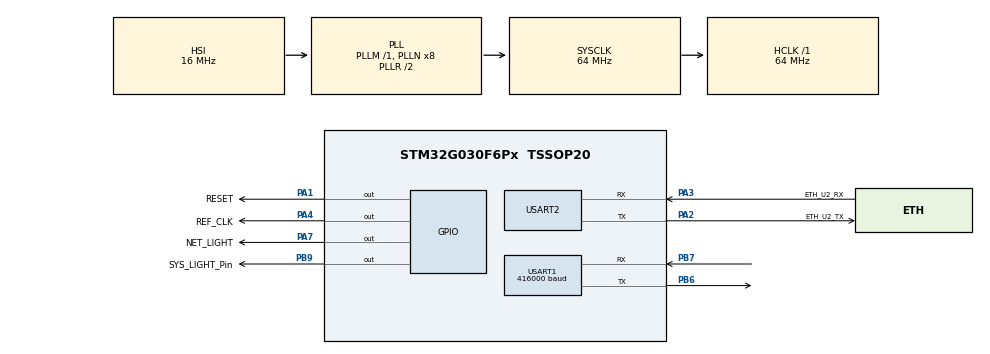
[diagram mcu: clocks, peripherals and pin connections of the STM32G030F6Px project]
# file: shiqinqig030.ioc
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Dma.Request0=USART2_TX
Dma.Request1=USART1_RX
Dma.Request2=USART2_RX
Dma.USART1_RX.1.Direction=DMA_PERIPH_TO_MEMORY
Dma.USART1_RX.1.EventEnable=DISABLE
Dma.USART1_RX.1.Instance=DMA1_Channel1
Dma.USART1_RX.1.MemDataAlignment=DMA_MDATAALIGN_BYTE
Dma.USART1_RX.1.MemInc=DMA_MINC_ENABLE
Dma.USART1_RX.1.Mode=DMA_CIRCULAR
Dma.USART1_RX.1.PeriphDataAlignment=DMA_PDATAALIGN_BYTE
Dma.USART1_RX.1.PeriphInc=DMA_PINC_DISABLE
Dma.USART1_RX.1.Polarity=HAL_DMAMUX_REQ_GEN_RISING
Dma.USART1_RX.1.Priority=DMA_PRIORITY_LOW
Dma.USART1_RX.1.RequestNumber=1
Dma.USART1_RX.1.SignalID=NONE
Dma.USART1_RX.1.SyncEnable=DISABLE
Dma.USART1_RX.1.SyncPolarity=HAL_DMAMUX_SYNC_NO_EVENT
Dma.USART1_RX.1.SyncRequestNumber=1
Dma.USART1_RX.1.SyncSignalID=NONE
Dma.USART2_RX.2.Direction=DMA_PERIPH_TO_MEMORY
Dma.USART2_RX.2.EventEnable=DISABLE
Dma.USART2_RX.2.Instance=DMA1_Channel3
Dma.USART2_RX.2.MemDataAlignment=DMA_MDATAALIGN_BYTE
Dma.USART2_RX.2.MemInc=DMA_MINC_ENABLE
Dma.USART2_RX.2.Mode=DMA_NORMAL
Dma.USART2_RX.2.PeriphDataAlignment=DMA_PDATAALIGN_BYTE
Dma.USART2_RX.2.PeriphInc=DMA_PINC_DISABLE
Dma.USART2_RX.2.Polarity=HAL_DMAMUX_REQ_GEN_RISING
Dma.USART2_RX.2.Priority=DMA_PRIORITY_LOW
Dma.USART2_RX.2.RequestNumber=1
Dma.USART2_RX.2.SignalID=NONE
Dma.USART2_RX.2.SyncEnable=DISABLE
Dma.USART2_RX.2.SyncPolarity=HAL_DMAMUX_SYNC_NO_EVENT
Dma.USART2_RX.2.SyncRequestNumber=1
Dma.USART2_RX.2.SyncSignalID=NONE
Dma.USART2_TX.0.Direction=DMA_MEMORY_TO_PERIPH
Dma.USART2_TX.0.EventEnable=DISABLE
Dma.USART2_TX.0.Instance=DMA1_Channel2
Dma.USART2_TX.0.MemDataAlignment=DMA_MDATAALIGN_BYTE
Dma.USART2_TX.0.MemInc=DMA_MINC_ENABLE
Dma.USART2_TX.0.Mode=DMA_NORMAL
Dma.USART2_TX.0.PeriphDataAlignment=DMA_PDATAALIGN_BYTE
Dma.USART2_TX.0.PeriphInc=DMA_PINC_DISABLE
Dma.USART2_TX.0.Polarity=HAL_DMAMUX_REQ_GEN_RISING
Dma.USART2_TX.0.Priority=DMA_PRIORITY_LOW
Dma.USART2_TX.0.RequestNumber=1
Dma.USART2_TX.0.SignalID=NONE
Dma.USART2_TX.0.SyncEnable=DISABLE
Dma.USART2_TX.0.SyncPolarity=HAL_DMAMUX_SYNC_NO_EVENT
Dma.USART2_TX.0.SyncRequestNumber=1
Dma.USART2_TX.0.SyncSignalID=NONE
Mcu.Family=STM32G0
Mcu.Name=STM32G030F6Px
Mcu.Package=TSSOP20
NVIC.DMA1_Channel1_IRQn=true\:0\:0\:false\:true\:true\:4\:false\:true
NVIC.DMA1_Channel2_3_IRQn=true\:0\:0\:false\:true\:true\:3\:false\:true
NVIC.USART1_IRQn=true\:1\:0\:true\:true\:true\:1\:true\:true
NVIC.USART2_IRQn=true\:0\:0\:true\:true\:true\:2\:true\:true
PA1.GPIO_Label=RESET
PA1.PinState=GPIO_PIN_SET
PA1.Signal=GPIO_Output
PA13.Mode=Serial_Wire
PA13.Signal=SYS_SWDIO
PA14-BOOT0.Mode=Serial_Wire
PA14-BOOT0.Signal=SYS_SWCLK
PA2.GPIO_Label=ETH_U2_TX
PA2.Mode=Asynchronous
PA2.Signal=USART2_TX
PA3.GPIO_Label=ETH_U2_RX
PA3.Mode=Asynchronous
PA3.Signal=USART2_RX
PA4.GPIO_Label=REF_CLK
PA4.PinState=GPIO_PIN_SET
PA4.Signal=GPIO_Output
PA7.GPIO_Label=NET_LIGHT
PA7.PinState=GPIO_PIN_SET
PA7.Signal=GPIO_Output
PB6.Mode=Asynchronous
PB6.Signal=USART1_TX
PB7.Mode=Asynchronous
PB7.Signal=USART1_RX
PB9.GPIO_Label=SYS_LIGHT_Pin
PB9.PinState=GPIO_PIN_SET
PB9.Signal=GPIO_Output
ProjectManager.HeapSize=0x200
ProjectManager.StackSize=0x400
ProjectManager.TargetToolchain=MDK-ARM V5.27
RCC.ADCFreq_Value=64000000
RCC.AHBFreq_Value=64000000
RCC.CortexFreq_Value=64000000
RCC.EXTERNAL_CLOCK_VALUE=12288000
RCC.HCLKFreq_Value=64000000
RCC.HSE_VALUE=8000000
RCC.HSI_VALUE=16000000
RCC.LSE_VALUE=32768
RCC.SYSCLKFreq_VALUE=64000000
RCC.SYSCLKSource=RCC_SYSCLKSOURCE_PLLCLK
RCC.VCOOutputFreq_Value=128000000
USART1.BaudRate=416000
USART1.VirtualMode-Asynchronous=VM_ASYNC
USART2.VirtualMode-Asynchronous=VM_ASYNC
board=custom

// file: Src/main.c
/* USER CODE BEGIN Header */
/**
  ******************************************************************************
  * @file           : main.c
  * @brief          : Main program body
  ******************************************************************************
  * @attention
  *
  * <h2><center>&copy; Copyright (c) 2021 STMicroelectronics.
  * All rights reserved.</center></h2>
  *
  * This software component is licensed by ST under BSD 3-Clause license,
  * the "License"; You may not use this file except in compliance with the
  * License. You may obtain a copy of the License at:
  *                        opensource.org/licenses/BSD-3-Clause
  *
  ******************************************************************************
  */
/* USER CODE END Header */

#include "main.h"
#include "dma.h"
#include "usart.h"
#include "gpio.h"

/* USER CODE BEGIN Includes */
#include  "shiyinqi_hal.h"
/* USER CODE END Includes */

void SystemClock_Config(void);
static void MX_NVIC_Init(void);
/* USER CODE BEGIN PFP */
uint32_t  led_tim_count=0;
uint8_t    led_flag=0;
/* USER CODE END PFP */

int main(void)
{
  /* USER CODE BEGIN 1 */
	uint8_t ab[5]={1,2,3,4,5};
  /* USER CODE END 1 */

  /* MCU Configuration--------------------------------------------------------*/

  /* Reset of all peripherals, Initializes the Flash interface and the Systick. */
  HAL_Init();

  /* Configure the system clock */
  SystemClock_Config();

  /* Initialize all configured peripherals */
  MX_GPIO_Init();
  MX_DMA_Init();
  MX_USART1_UART_Init();
  MX_USART2_UART_Init();

  /* Initialize interrupts */
  MX_NVIC_Init();
  /* USER CODE BEGIN 2 */
//	 reset_ethdevinit();
    ETH_Rst();
   ETH_DMA_START();
   eth_at_open();
 	 while(eth_init()!=1);
	  led_flag=1;
		usart1_DMA_START();
//
//  shiqinqi_DMA_START();
  /* USER CODE END 2 */

  /* Infinite loop */
  while (1)
  {

    /* USER CODE BEGIN 3 */
//	  	app_task_run();
//  HAL_UART_Receive_DMA(&shiyinqi_usart,(uint8_t *)shiyinqi_st.RX_pData, 700);  //不能启动打开
//       HAL_Delay(1000);
//			HAL_UART_Transmit_DMA(&huart1, (uint8_t *)ab,4);
		  data_send();
  }
  /* USER CODE END 3 */
}

void SystemClock_Config(void)
{
  RCC_OscInitTypeDef RCC_OscInitStruct = {0};
  RCC_ClkInitTypeDef RCC_ClkInitStruct = {0};
  RCC_PeriphCLKInitTypeDef PeriphClkInit = {0};

  /** Configure the main internal regulator output voltage
  */
  HAL_PWREx_ControlVoltageScaling(PWR_REGULATOR_VOLTAGE_SCALE1);
  /** Initializes the CPU, AHB and APB busses clocks
  */
  RCC_OscInitStruct.OscillatorType = RCC_OSCILLATORTYPE_HSI;
  RCC_OscInitStruct.HSIState = RCC_HSI_ON;
  RCC_OscInitStruct.HSIDiv = RCC_HSI_DIV1;
  RCC_OscInitStruct.HSICalibrationValue = RCC_HSICALIBRATION_DEFAULT;
  RCC_OscInitStruct.PLL.PLLState = RCC_PLL_ON;
  RCC_OscInitStruct.PLL.PLLSource = RCC_PLLSOURCE_HSI;
  RCC_OscInitStruct.PLL.PLLM = RCC_PLLM_DIV1;
  RCC_OscInitStruct.PLL.PLLN = 8;
  RCC_OscInitStruct.PLL.PLLP = RCC_PLLP_DIV2;
  RCC_OscInitStruct.PLL.PLLR = RCC_PLLR_DIV2;
  if (HAL_RCC_OscConfig(&RCC_OscInitStruct) != HAL_OK)
  {
    Error_Handler();
  }
  /** Initializes the CPU, AHB and APB busses clocks
  */
  RCC_ClkInitStruct.ClockType = RCC_CLOCKTYPE_HCLK|RCC_CLOCKTYPE_SYSCLK
                              |RCC_CLOCKTYPE_PCLK1;
  RCC_ClkInitStruct.SYSCLKSource = RCC_SYSCLKSOURCE_PLLCLK;
  RCC_ClkInitStruct.AHBCLKDivider = RCC_SYSCLK_DIV1;
  RCC_ClkInitStruct.APB1CLKDivider = RCC_HCLK_DIV1;

  if (HAL_RCC_ClockConfig(&RCC_ClkInitStruct, FLASH_LATENCY_2) != HAL_OK)
  {
    Error_Handler();
  }
  /** Initializes the peripherals clocks
  */
  PeriphClkInit.PeriphClockSelection = RCC_PERIPHCLK_USART1;
  PeriphClkInit.Usart1ClockSelection = RCC_USART1CLKSOURCE_PCLK1;
  if (HAL_RCCEx_PeriphCLKConfig(&PeriphClkInit) != HAL_OK)
  {
    Error_Handler();
  }
}

/**
  * @brief NVIC Configuration.
  * @retval None
  */
static void MX_NVIC_Init(void)
{
  /* USART1_IRQn interrupt configuration */
  HAL_NVIC_SetPriority(USART1_IRQn, 1, 0);
  HAL_NVIC_EnableIRQ(USART1_IRQn);
  /* USART2_IRQn interrupt configuration */
  HAL_NVIC_SetPriority(USART2_IRQn, 0, 0);
  HAL_NVIC_EnableIRQ(USART2_IRQn);
  /* DMA1_Channel2_3_IRQn interrupt configuration */
  HAL_NVIC_SetPriority(DMA1_Channel2_3_IRQn, 0, 0);
  HAL_NVIC_EnableIRQ(DMA1_Channel2_3_IRQn);
  /* DMA1_Channel1_IRQn interrupt configuration */
  HAL_NVIC_SetPriority(DMA1_Channel1_IRQn, 0, 0);
  HAL_NVIC_EnableIRQ(DMA1_Channel1_IRQn);
}

/* USER CODE BEGIN 4 */
void SysTick_Handler(void)
{
  /* USER CODE BEGIN SysTick_IRQn 0 */

  /* USER CODE END SysTick_IRQn 0 */
  HAL_IncTick();
  /* USER CODE BEGIN SysTick_IRQn 1 */
		    if(led_flag==1)
		{
			led_tim_count++;
			 if(led_tim_count>1000)
			 {

				 led_tim_count=0;
				 HAL_GPIO_TogglePin(SYS_LIGHT_Pin_GPIO_Port, SYS_LIGHT_Pin_Pin);
				 HAL_GPIO_TogglePin(NET_LIGHT_GPIO_Port, NET_LIGHT_Pin);
			 }

		}
  /* USER CODE END SysTick_IRQn 1 */
}
/* USER CODE END 4 */

void Error_Handler(void)
{
}

/************************ (C) COPYRIGHT STMicroelectronics *****END OF FILE****/
